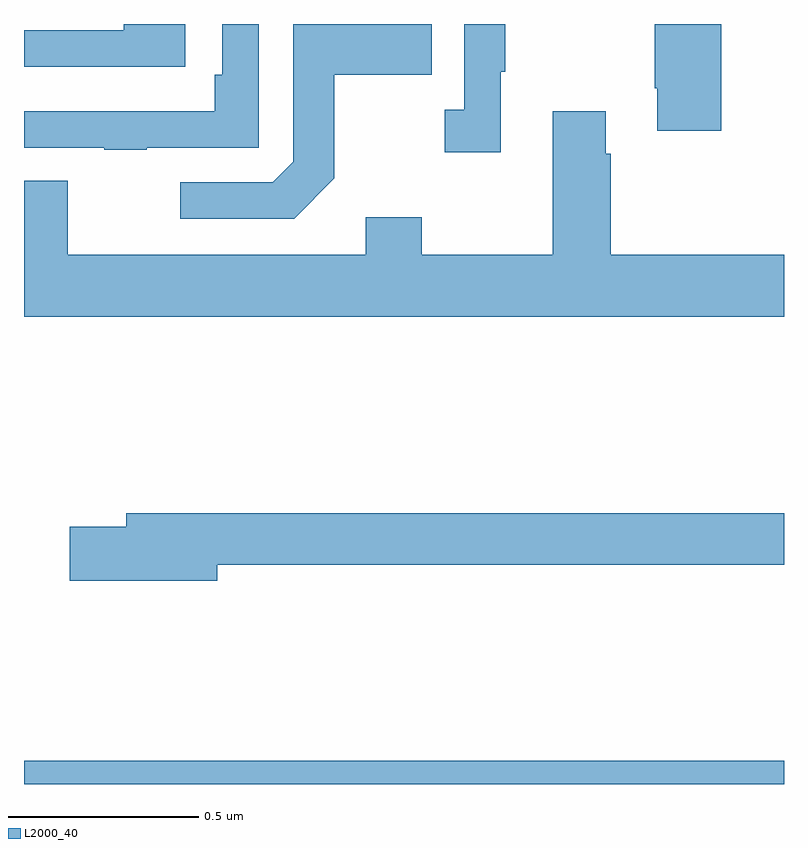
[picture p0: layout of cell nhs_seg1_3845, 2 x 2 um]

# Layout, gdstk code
import gdstk
lib = gdstk.Library(unit=1e-6, precision=1e-09)
def R(c, l, rs):  # rectangles x0, y0, x1, y1
    for r in rs: c.add(gdstk.rectangle(r[:2], r[2:], *l))
def P(c, l, *ps):  # polygons
    for p in ps: c.add(gdstk.Polygon(p, *l))
L2000_40 = (2000, 40)

nhs_seg1_3845 = lib.new_cell('nhs_seg1_3845')
R(nhs_seg1_3845, L2000_40, [(159,521.199,161,521.26)])
P(nhs_seg1_3845, L2000_40, [(159.817,522.793),(159.817,523.066),(160.073,523.066),(160.073,523.199),(159.708,523.199),(159.708,522.837),(159.654,522.783),(159.411,522.783),(159.411,522.687),(159.711,522.687)],
  [(159.323,522.873),(159.618,522.873),(159.618,523.199),(159.522,523.199),(159.522,523.066),(159.502,523.066),(159.502,522.969),(159,522.969),(159,522.873),(159.211,522.873),(159.211,522.868),(159.323,522.868)],
  [(159.424,523.199),(159.263,523.199),(159.263,523.182),(159,523.182),(159,523.086),(159.424,523.086)],
  [(160.835,523.199),(160.66,523.199),(160.66,523.03),(160.667,523.03),(160.667,522.918),(160.835,522.918)],
  [(160.255,523.073),(160.267,523.073),(160.267,523.199),(160.158,523.199),(160.158,522.974),(160.107,522.974),(160.107,522.861),(160.255,522.861)],
  [(161,522.592),(160.544,522.592),(160.544,522.857),(160.531,522.857),(160.531,522.97),(160.391,522.97),(160.391,522.592),(160.047,522.592),(160.047,522.691),(159.899,522.691),(159.899,522.592),(159.115,522.592),(159.115,522.787),(159,522.787),(159,522.428),(161,522.428)],
  [(159.508,521.776),(161,521.776),(161,521.912),(159.269,521.912),(159.269,521.876),(159.12,521.876),(159.12,521.734),(159.508,521.734)])

lib.write_gds('nhs_seg1_3845.gds')
